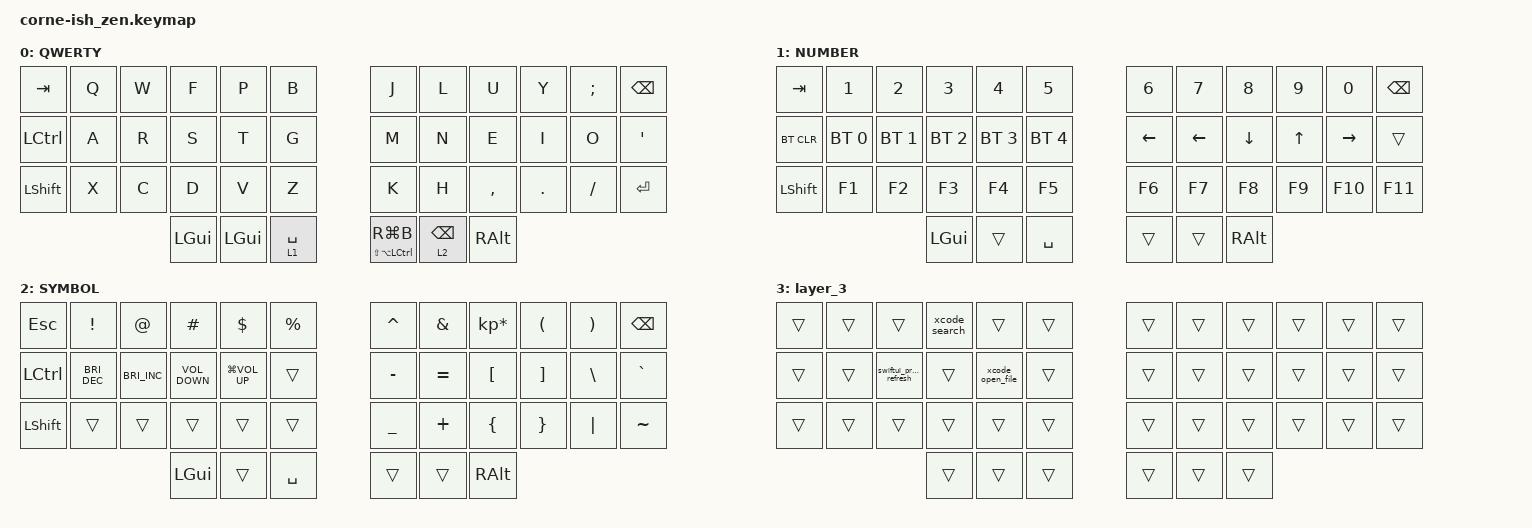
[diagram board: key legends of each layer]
/*
*
* Copyright (c) 2021 Darryl deHaan
* SPDX-License-Identifier: MIT
*
*/

#include <behaviors.dtsi>
#include <dt-bindings/zmk/bt.h>
#include <dt-bindings/zmk/keys.h>

/ {
    chosen {
        zmk,matrix_transform = &default_transform;

        //zmk,matrix_transform = &five_column_transform;
    };
};

/ {
    macros {
        swiftui_preview_refresh: swiftui_preview_refresh {
            compatible = "zmk,behavior-macro";
            #binding-cells = <0>;
            bindings = <&kp RA(RG(P))>;
            label = "SWIFTUI_PREVIEW_REFRESH";
        };

        xcode_open_file: xcode_open_file {
            compatible = "zmk,behavior-macro";
            #binding-cells = <0>;
            bindings = <&kp LS(LG(O))>;
            label = "XCODE_OPEN_FILE";
        };

        xcode_search: xcode_search {
            compatible = "zmk,behavior-macro";
            #binding-cells = <0>;
            bindings = <&kp LS(LG(F))>;
            label = "XCODE_SEARCH";
        };
    };

    behaviors {
        tap_hold: tap_hold {
            compatible = "zmk,behavior-hold-tap";
            label = "TAP_HOLD";
            bindings = <&mo>, <&kp>;

            #binding-cells = <2>;
            tapping-term-ms = <100>;
            flavor = "hold-preferred";
            quick-tap-ms = <200>;
        };

        tap_hold_key: tap_hold_key {
            compatible = "zmk,behavior-hold-tap";
            label = "TAP_HOLD_KEY";
            bindings = <&kp>, <&kp>;

            #binding-cells = <2>;
            tapping-term-ms = <100>;
            quick-tap-ms = <200>;
        };
    };

    keymap {
        compatible = "zmk,keymap";

        default_layer {
            label = "QWERTY";

            // -----------------------------------------------------------------------------------------
            // |  TAB |  Q  |  W  |  E  |  R  |  T  |   |  Y  |  U   |  I  |  O  |  P  | BKSP |
            // | CTRL |  A  |  S  |  D  |  F  |  G  |   |  H  |  J   |  K  |  L  |  ;  |  '   |
            // | SHFT |  Z  |  X  |  C  |  V  |  B  |   |  N  |  M   |  ,  |  .  |  /  | RET  |
            //                    | GUI | LWR | SPC |   | ENT | RSE  | ALT |

            bindings = <
&kp TAB    &kp Q  &kp W  &kp F     &kp P         &kp B                &kp J                              &kp L                  &kp U      &kp Y    &kp SEMICOLON  &kp BSPC
&kp LCTRL  &kp A  &kp R  &kp S     &kp T         &kp G                &kp M                              &kp N                  &kp E      &kp I    &kp O          &kp SQT
&kp LSHFT  &kp X  &kp C  &kp D     &kp V         &kp Z                &kp K                              &kp H                  &kp COMMA  &kp DOT  &kp FSLH       &kp RET
                         &kp LGUI  &kp LEFT_GUI  &tap_hold 1 SPACE    &tap_hold_key LS(LA(LCTRL)) RG(B)  &tap_hold 2 BACKSPACE  &kp RALT
            >;
        };

        lower_layer {
            label = "NUMBER";

            // -----------------------------------------------------------------------------------------
            // |  TAB |  1  |  2  |  3  |  4  |  5  |   |  6  |  7  |  8  |  9  |  0  | BKSP |
            // | BTCLR| BT1 | BT2 | BT3 | BT4 | BT5 |   | LFT | DWN |  UP | RGT |     |      |
            // | SHFT |     |     |     |     |     |   |     |     |     |     |     |      |
            //                    | GUI |     | SPC |   | ENT |     | ALT |

            bindings = <
&kp TAB     &kp N1        &kp N2        &kp N3        &kp N4        &kp N5          &kp N6    &kp N7    &kp N8    &kp N9  &kp N0     &kp BSPC
&bt BT_CLR  &bt BT_SEL 0  &bt BT_SEL 1  &bt BT_SEL 2  &bt BT_SEL 3  &bt BT_SEL 4    &kp LEFT  &kp LEFT  &kp DOWN  &kp UP  &kp RIGHT  &trans
&kp LSHFT   &kp F1        &kp F2        &kp F3        &kp F4        &kp F5          &kp F6    &kp F7    &kp F8    &kp F9  &kp F10    &kp F11
                                        &kp LGUI      &trans        &kp SPACE       &trans    &trans    &kp RALT
            >;
        };

        raise_layer {
            label = "SYMBOL";

            // -----------------------------------------------------------------------------------------
            // |  ESC |  !  |  @  |  #  |  $  |  %  |   |  ^  |  &  |  *  |  (  |  )  | BKSP |
            // | CTRL |     |     |     |     |     |   |  -  |  =  |  [  |  ]  |  \  |  `   |
            // | SHFT |     |     |     |     |     |   |  _  |  +  |  {  |  }  | "|" |  ~   |
            //                    | GUI |     | SPC |   | ENT |     | ALT |

            bindings = <
&kp ESC    &kp EXCL              &kp AT                &kp HASH           &kp DLLR             &kp PRCNT    &kp CARET  &kp AMPS   &kp KP_MULTIPLY  &kp LPAR  &kp RPAR  &kp BSPC
&kp LCTRL  &kp C_BRIGHTNESS_DEC  &kp C_BRIGHTNESS_INC  &kp C_VOLUME_DOWN  &kp LG(C_VOLUME_UP)  &trans       &kp MINUS  &kp EQUAL  &kp LBKT         &kp RBKT  &kp BSLH  &kp GRAVE
&kp LSHFT  &trans                &trans                &trans             &trans               &trans       &kp UNDER  &kp PLUS   &kp LBRC         &kp RBRC  &kp PIPE  &kp TILDE
                                                       &kp LGUI           &trans               &kp SPACE    &trans     &trans     &kp RALT
            >;
        };

        layer_3 {
            bindings = <
&trans  &trans  &trans                    &xcode_search  &trans            &trans    &trans  &trans  &trans  &trans  &trans  &trans
&trans  &trans  &swiftui_preview_refresh  &trans         &xcode_open_file  &trans    &trans  &trans  &trans  &trans  &trans  &trans
&trans  &trans  &trans                    &trans         &trans            &trans    &trans  &trans  &trans  &trans  &trans  &trans
                                          &trans         &trans            &trans    &trans  &trans  &trans
            >;
        };
    };
};
